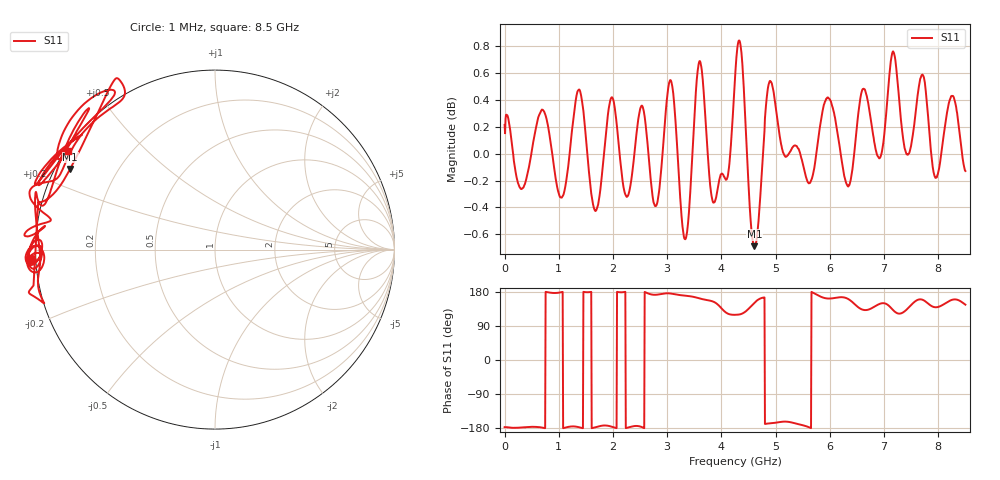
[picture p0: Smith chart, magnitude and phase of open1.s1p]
# Hz S RI R 50
! CMT, S5085, 16077402, 21.3.2/1
! Date: 11/17/2021 5:11:32 PM
! Data: Format (Calibration Info)
! Freq	S11:Re/Im(--)
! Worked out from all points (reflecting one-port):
!   1001 points, 1 MHz to 8.5 GHz, reference 50 ohm
!   lowest |S11| = -0.7 dB at 4.607 GHz (marker M1), VSWR 25.25, Z = 2.11 + j12.9 ohm
!   phase of S11 starts at -177 deg and turns -37 deg over the sweep
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1000000  -1.024 -0.0509
1.063375e9  -0.9636 0.00923
1.853782e9  -1.002 -0.1272
2.12575e9  -0.9976 0.0218
2.440213e9  -1.014 -0.1064
2.729179e9  -0.9561 0.127
3.188125e9  -0.9929 0.1352
3.621574e9  -1.024 0.3412
3.851047e9  -0.8614 0.4212
4.123015e9  -0.5209 0.833
4.2505e9  -0.5211 0.9308
4.394983e9  -0.5889 0.8968
4.607458e9  -0.8074 0.4489
4.751941e9  -0.9512 0.2717
4.84543e9  -1.03 -0.2221
5.312875e9  -0.9731 -0.2529
5.907805e9  -1.002 0.2992
6.239266e9  -0.9572 0.2458
6.37525e9  -0.9017 0.3732
6.63022e9  -0.7068 0.7858
6.961681e9  -0.8659 0.5043
7.089166e9  -0.8514 0.6391
7.233649e9  -0.6004 0.8874
7.437625e9  -0.719 0.6936
7.658599e9  -1 0.3625
7.939066e9  -0.743 0.6394
8.296024e9  -0.9839 0.3598
8.5e9  -0.8171 0.5505
